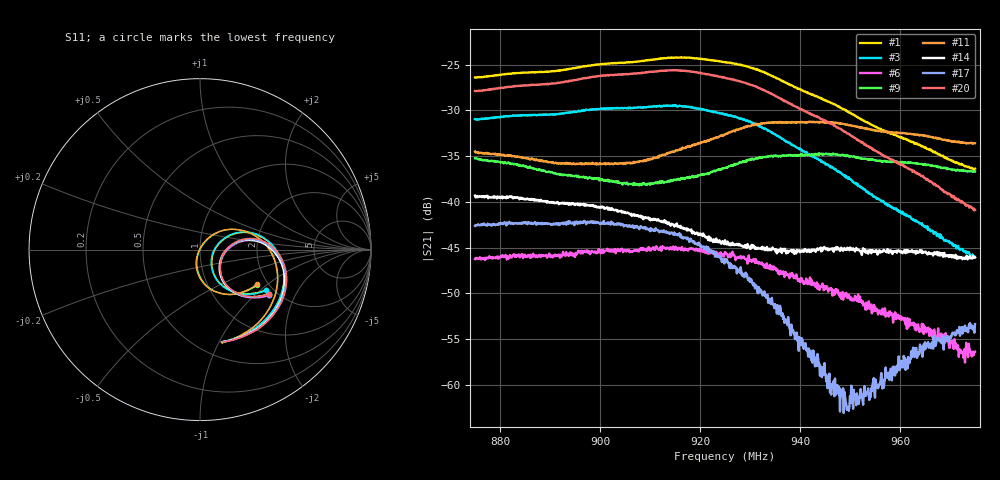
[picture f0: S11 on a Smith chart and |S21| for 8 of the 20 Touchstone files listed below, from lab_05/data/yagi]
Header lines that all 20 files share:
! Touchstone 1.1 file saved by VNA.EXE V1.65 (www.ke5fx.com/gpib/readme.htm)
!  Source: HEWLETT PACKARD,8753D,0,6.14
!  Min freq: 8.750000E+008 Hz
!  Max freq: 9.750200E+008 Hz
!  Points: 801
!  Params: S11 S21 S12 S22
# GHZ S MA R 50
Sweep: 875 MHz to 975 MHz
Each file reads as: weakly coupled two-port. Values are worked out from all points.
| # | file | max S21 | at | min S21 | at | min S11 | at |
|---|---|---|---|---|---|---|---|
| 1 | 0.S2P | -24.19 dB | 916.1 MHz | -36.4 dB | 974.9 MHz | -21.9 dB | 912 MHz |
| 2 | 20.S2P | -25.64 dB | 915.8 MHz | -38.9 dB | 975 MHz | -22.0 dB | 912 MHz |
| 3 | 40.S2P | -29.42 dB | 915.1 MHz | -46.1 dB | 974.9 MHz | -22.2 dB | 912 MHz |
| 4 | 60.S2P | -34.58 dB | 910.8 MHz | -62.9 dB | 974.3 MHz | -22.4 dB | 911.6 MHz |
| 5 | 80.S2P | -43.05 dB | 910.3 MHz | -61.1 dB | 974.8 MHz | -21.9 dB | 912 MHz |
| 6 | 90.S2P | -44.85 dB | 912.5 MHz | -57.6 dB | 973 MHz | -17.1 dB | 909.9 MHz |
| 7 | 100.S2P | -43.11 dB | 875.3 MHz | -50.3 dB | 974.9 MHz | -17.2 dB | 910.1 MHz |
| 8 | 120.S2P | -38.38 dB | 875.1 MHz | -42.5 dB | 913.9 MHz | -64.7 dB | 916.3 MHz |
| 9 | 140.S2P | -34.69 dB | 943.8 MHz | -38.2 dB | 907.9 MHz | -63.5 dB | 916.5 MHz |
| 10 | 160.S2P | -32.54 dB | 943.1 MHz | -36.7 dB | 904.5 MHz | -55.2 dB | 916.6 MHz |
| 11 | 180.S2P | -31.22 dB | 942.3 MHz | -35.9 dB | 899.4 MHz | -50.3 dB | 917.4 MHz |
| 12 | 200.S2P | -32.32 dB | 944.8 MHz | -36.8 dB | 904.1 MHz | -59.2 dB | 917.1 MHz |
| 13 | 220.S2P | -36.48 dB | 875.1 MHz | -38.3 dB | 973.4 MHz | -17.0 dB | 910.9 MHz |
| 14 | 240.S2P | -39.32 dB | 875 MHz | -46.3 dB | 973.5 MHz | -17.6 dB | 911.3 MHz |
| 15 | 260.S2P | -42.51 dB | 881.5 MHz | -51.7 dB | 975 MHz | -17.9 dB | 911.1 MHz |
| 16 | 270.S2P | -43.94 dB | 884.3 MHz | -68.6 dB | 940.5 MHz | -17.2 dB | 910.3 MHz |
| 17 | 280.S2P | -42.08 dB | 896.9 MHz | -63.1 dB | 948.8 MHz | -17.3 dB | 910.6 MHz |
| 18 | 300.S2P | -33.86 dB | 912.4 MHz | -64.2 dB | 972.8 MHz | -17.3 dB | 910.6 MHz |
| 19 | 320.S2P | -29.06 dB | 914 MHz | -49.8 dB | 975 MHz | -17.4 dB | 910.6 MHz |
| 20 | 340.S2P | -25.58 dB | 914.4 MHz | -40.9 dB | 975 MHz | -17.4 dB | 910.5 MHz |
